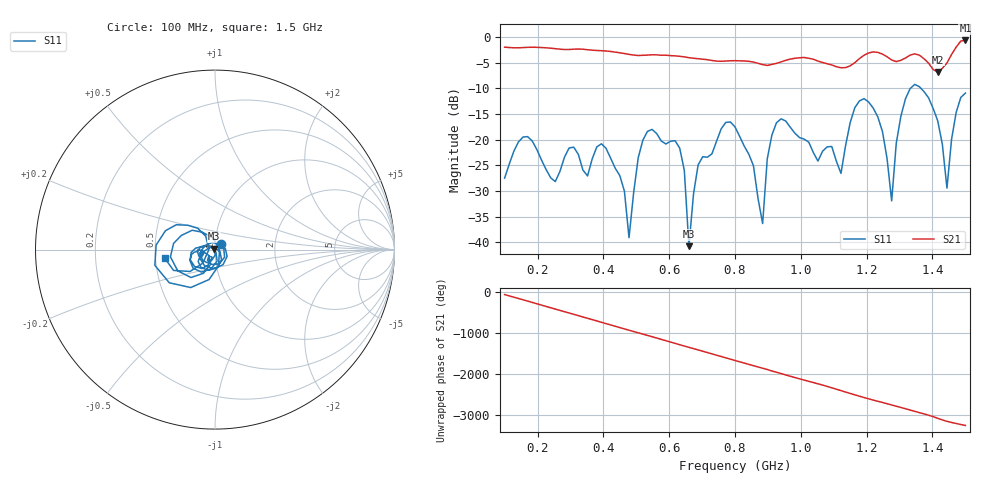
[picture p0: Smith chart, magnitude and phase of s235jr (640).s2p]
! NanoVNA-App
! Date: 2025-09-25 15:09:09
! Start: 100MHz Stop: 1,5GHz Points: 101
! S-Parameter data: F S11 S21 S12 S22
# Hz S RI R 50
!  Frequency  S11_Real  S11_Imag  S21_Real  S21_Imag  S12_Real  S12_Imag  S22_Real  S22_Imag
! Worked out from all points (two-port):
!   101 points, 100 MHz to 1.5 GHz, reference 50 ohm
!   highest |S21| = -0.66 dB at 1.5 GHz (marker M1); lowest = -6.8 dB at 1.416 GHz (marker M2)
!   |S21| within 3 dB of the highest: start of sweep to 616.8 MHz; 1.19 GHz to 1.257 GHz (67.7 MHz wide, 5.53 % of centre) (the widest 2 of 4)
!   lowest |S11| = -40.7 dB at 660 MHz (marker M3), VSWR 1.02, Z = 49.3 + j0.534 ohm
!   |S11| at or under -10 dB: start of sweep to 1.333 GHz; 1.365 GHz to end of sweep
!   S12 and S22 are empty: the file has one direction only
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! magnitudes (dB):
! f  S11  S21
! 100 MHz  -27.5  -2.0
! 156 MHz  -19.5  -2.0
! 338 MHz  -25.9  -2.4
! 408 MHz  -21.6  -2.7
! 478 MHz  -39.1  -3.4
! 520 MHz  -20.1  -3.5
! 576 MHz  -20.2  -3.5
! 632 MHz  -21.6  -3.7
! 660 MHz  -40.7  -4.0
! 688 MHz  -24.9  -4.2
! 800 MHz  -17.5  -4.6
! 884 MHz  -36.3  -5.4
! 926 MHz  -16.7  -5.1
! 1.038 GHz  -22.5  -4.3
! 1.122 GHz  -26.5  -6.0
! 1.192 GHz  -12.0  -3.5
! 1.248 GHz  -18.4  -3.3
! 1.276 GHz  -31.9  -4.5
! 1.332 GHz  -10.0  -3.5
! 1.416 GHz  -16.3  -6.8
! 1.444 GHz  -29.4  -5.0
! 1.5 GHz  -10.9  -0.7
